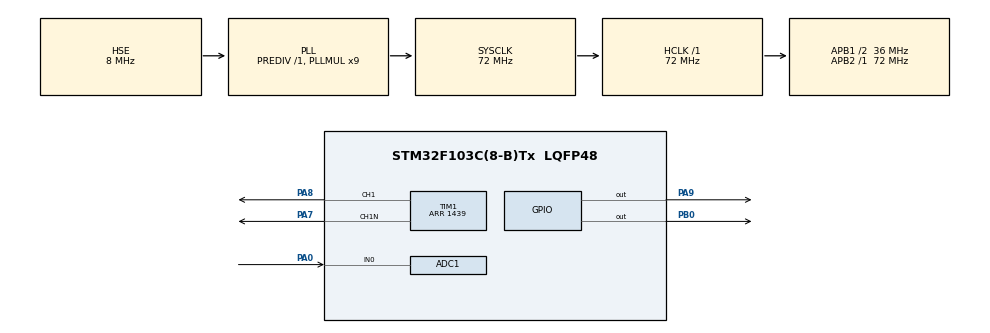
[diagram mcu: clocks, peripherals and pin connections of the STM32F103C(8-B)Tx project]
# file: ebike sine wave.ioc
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ADC1.Channel-0\#ChannelRegularConversion=ADC_CHANNEL_0
ADC1.ContinuousConvMode=ENABLE
ADC1.ExternalTrigConv=ADC_SOFTWARE_START
ADC1.NbrOfConversion=1
ADC1.NbrOfConversionFlag=1
ADC1.Rank-0\#ChannelRegularConversion=1
ADC1.SamplingTime-0\#ChannelRegularConversion=ADC_SAMPLETIME_71CYCLES_5
ADC1.master=1
Mcu.Family=STM32F1
Mcu.Name=STM32F103C(8-B)Tx
Mcu.Package=LQFP48
NVIC.PriorityGroup=NVIC_PRIORITYGROUP_4
NVIC.TIM1_UP_IRQn=true\:0\:0\:false\:false\:true\:true\:true\:true
PA0-WKUP.Signal=ADCx_IN0
PA13.Mode=Serial_Wire
PA13.Signal=SYS_JTMS-SWDIO
PA14.Mode=Serial_Wire
PA14.Signal=SYS_JTCK-SWCLK
PA7.Mode=PWM Generation1 CH1 CH1N
PA7.Signal=TIM1_CH1N
PA8.Signal=S_TIM1_CH1
PA9.Signal=GPIO_Output
PB0.Signal=GPIO_Output
PD0-OSC_IN.Mode=HSE-External-Oscillator
PD0-OSC_IN.Signal=RCC_OSC_IN
PD1-OSC_OUT.Mode=HSE-External-Oscillator
PD1-OSC_OUT.Signal=RCC_OSC_OUT
ProjectManager.HeapSize=0x200
ProjectManager.StackSize=0x400
ProjectManager.TargetToolchain=STM32CubeIDE
RCC.ADCPresc=RCC_ADCPCLK2_DIV6
RCC.AHBFreq_Value=72000000
RCC.APB1CLKDivider=RCC_HCLK_DIV2
RCC.APB1Freq_Value=36000000
RCC.APB1TimFreq_Value=72000000
RCC.APB2Freq_Value=72000000
RCC.APB2TimFreq_Value=72000000
RCC.HCLKFreq_Value=72000000
RCC.PLLMUL=RCC_PLL_MUL9
RCC.PLLSourceVirtual=RCC_PLLSOURCE_HSE
RCC.SYSCLKFreq_VALUE=72000000
RCC.SYSCLKSource=RCC_SYSCLKSOURCE_PLLCLK
RCC.USBFreq_Value=72000000
SH.ADCx_IN0.0=ADC1_IN0,IN0
SH.S_TIM1_CH1.0=TIM1_CH1,PWM Generation1 CH1 CH1N
TIM1.AutoReloadPreload=TIM_AUTORELOAD_PRELOAD_ENABLE
TIM1.Channel-PWM\ Generation1\ CH1\ CH1N=TIM_CHANNEL_1
TIM1.CounterMode=TIM_COUNTERMODE_CENTERALIGNED1
TIM1.DeadTime=10
TIM1.Period=1439
TIM1.Pulse-PWM\ Generation1\ CH1\ CH1N=0
TIM1.RepetitionCounter=1
VP_TIM1_VS_ClockSourceINT.Mode=Internal
board=custom

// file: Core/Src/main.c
/* USER CODE BEGIN Header */
/**
 ******************************************************************************
 * @file           : main.c
 * @brief          : Main program body
 ******************************************************************************
 * @attention
 *
 * Copyright (c) 2026 STMicroelectronics.
 * All rights reserved.
 *
 * This software is licensed under terms that can be found in the LICENSE file
 * in the root directory of this software component.
 * If no LICENSE file comes with this software, it is provided AS-IS.
 *
 ******************************************************************************
 */
/* USER CODE END Header */
#include "main.h"
#include "adc.h"
#include "tim.h"
#include "gpio.h"

/* USER CODE BEGIN Includes */
#include "math.h"
/* USER CODE END Includes */

/* USER CODE BEGIN PV */
#define f_carrier     25000
#define f_fundamental 50
#define TIMER_PERIOD  1439   // center-aligned: 72 MHz / (2 x 1439) ~= 25 kHz

const float PI = M_PI;

int Duty;
int k = 0;
int phase = 0;
int sampleNum;

float radVal;
float sineValue[1000];
float duty_coeff = 0.9f;

#define MA_MAX   0.90f   // max modulation index
#define MA_DEADB 0.03f   // below this, output off (pulses shorter than dead time are lost anyway)

float pot_filt = 0.0f;

/* USER CODE END PV */

void SystemClock_Config(void);

/* USER CODE BEGIN 0 */
/* Soft start: ramps duty over ~2s so you don't slam gate drivers/MOSFETs
 * with full duty the instant TIM1 starts. Harmless to leave in for a
 * scope-only test. Set soft_start_mult = 1.0f directly if you want to
 * skip the ramp while probing. */
float soft_start_mult = 0.0f;
const float soft_start_step = 0.00002f;

void SystemClock_Config(void);

/* USER CODE END 0 */

int main(void)
{

	/* MCU Configuration--------------------------------------------------------*/

	/* Reset of all peripherals, Initializes the Flash interface and the Systick. */
	HAL_Init();

	/* Configure the system clock */
	SystemClock_Config();

	/* Initialize all configured peripherals */
	MX_GPIO_Init();
	MX_TIM1_Init();
	MX_ADC1_Init();
	/* USER CODE BEGIN 2 */

	HAL_ADCEx_Calibration_Start(&hadc1);
	HAL_ADC_Start(&hadc1);        // continuous mode: it keeps converting
	HAL_Delay(10);

	/* Precompute one half-cycle of the sine table */

	sampleNum = (int) (f_carrier / f_fundamental) / 2; // 250
	radVal = 1.0f * PI / (float) sampleNum;

	for (int i = 1; i <= sampleNum; i++)
	{
		sineValue[i] = sinf(radVal * (float) i);
	}
	sineValue[sampleNum] = 0.0f;

	/* Start PWM on CH1 (PA8) and complementary CH1N (PA7) */

	HAL_TIM_Base_Start_IT(&htim1);
	HAL_TIM_PWM_Start(&htim1, TIM_CHANNEL_1);
	HAL_TIMEx_PWMN_Start(&htim1, TIM_CHANNEL_1);

	/* USER CODE END 2 */

	/* Infinite loop */
	while (1)
	{

		/* USER CODE BEGIN 3 */

		uint32_t raw = HAL_ADC_GetValue(&hadc1);   // latest conversion, 0..4095
		pot_filt += 0.05f * ((float) raw - pot_filt); // low-pass, ~100 ms time constant

		float ma = (pot_filt / 4095.0f) * MA_MAX;
		if (ma < MA_DEADB)
			ma = 0.0f;

		duty_coeff = ma;                // ISR_SINE picks it up on the next tick
		HAL_Delay(5);

	}
	/* USER CODE END 3 */
}

void SystemClock_Config(void)
{
	RCC_OscInitTypeDef RCC_OscInitStruct =
	{ 0 };
	RCC_ClkInitTypeDef RCC_ClkInitStruct =
	{ 0 };
	RCC_PeriphCLKInitTypeDef PeriphClkInit =
	{ 0 };

	/** Initializes the RCC Oscillators according to the specified parameters
	 * in the RCC_OscInitTypeDef structure.
	 */
	RCC_OscInitStruct.OscillatorType = RCC_OSCILLATORTYPE_HSE;
	RCC_OscInitStruct.HSEState = RCC_HSE_ON;
	RCC_OscInitStruct.HSEPredivValue = RCC_HSE_PREDIV_DIV1;
	RCC_OscInitStruct.HSIState = RCC_HSI_ON;
	RCC_OscInitStruct.PLL.PLLState = RCC_PLL_ON;
	RCC_OscInitStruct.PLL.PLLSource = RCC_PLLSOURCE_HSE;
	RCC_OscInitStruct.PLL.PLLMUL = RCC_PLL_MUL9;
	if (HAL_RCC_OscConfig(&RCC_OscInitStruct) != HAL_OK)
	{
		Error_Handler();
	}

	/** Initializes the CPU, AHB and APB buses clocks
	 */
	RCC_ClkInitStruct.ClockType = RCC_CLOCKTYPE_HCLK | RCC_CLOCKTYPE_SYSCLK
			| RCC_CLOCKTYPE_PCLK1 | RCC_CLOCKTYPE_PCLK2;
	RCC_ClkInitStruct.SYSCLKSource = RCC_SYSCLKSOURCE_PLLCLK;
	RCC_ClkInitStruct.AHBCLKDivider = RCC_SYSCLK_DIV1;
	RCC_ClkInitStruct.APB1CLKDivider = RCC_HCLK_DIV2;
	RCC_ClkInitStruct.APB2CLKDivider = RCC_HCLK_DIV1;

	if (HAL_RCC_ClockConfig(&RCC_ClkInitStruct, FLASH_LATENCY_2) != HAL_OK)
	{
		Error_Handler();
	}
	PeriphClkInit.PeriphClockSelection = RCC_PERIPHCLK_ADC;
	PeriphClkInit.AdcClockSelection = RCC_ADCPCLK2_DIV6;
	if (HAL_RCCEx_PeriphCLKConfig(&PeriphClkInit) != HAL_OK)
	{
		Error_Handler();
	}
}

/* USER CODE BEGIN 4 */
/* Called from TIM1_UP_IRQHandler() in stm32f1xx_it.c, AFTER HAL_TIM_IRQHandler() */
void ISR_SINE(void)
{
	k++;

	/* Soft start ramp */
	if (soft_start_mult < 1.0f)
	{
		soft_start_mult += soft_start_step;
	}
	else
	{
		soft_start_mult = 1.0f;
	}

	Duty = (int) (duty_coeff * TIMER_PERIOD * sineValue[k] * soft_start_mult);

	/* Beginning of half cycle: set phase direction pins + first CCR1 */
	if (k == 1)
	{
		if (phase == 0)
		{
			GPIOA->BRR = GPIO_PIN_9;  // HB OFF
			GPIOB->BSRR = GPIO_PIN_0;  // LB ON
			TIM1->CCR1 = Duty;
		}
		else
		{
			GPIOB->BRR = GPIO_PIN_0;  // LB OFF
			GPIOA->BSRR = GPIO_PIN_9;  // HB ON
			TIM1->CCR1 = TIMER_PERIOD - Duty;
		}
		TIM1->BDTR |= TIM_BDTR_MOE; // enable outputs
	}

	/* Mid half-cycle: just update CCR1 each ISR tick */
	if (k > 1 && k <= sampleNum)
	{
		if (phase == 0)
			TIM1->CCR1 = Duty;
		else
			TIM1->CCR1 = TIMER_PERIOD - Duty;
	}

	/* Zero crossing: kill outputs, flip phase, pre-load next CCR1 */
	if (k > sampleNum)
	{
		int nextDuty = (int) (duty_coeff * TIMER_PERIOD * sineValue[1]
				* soft_start_mult);

		if (phase == 0)
			TIM1->CCR1 = TIMER_PERIOD - nextDuty;
		else
			TIM1->CCR1 = nextDuty;

		k = 0;

		TIM1->BDTR &= ~(TIM_BDTR_MOE); // instantly stop outputs (no shoot-through glitch)
		GPIOA->BRR = GPIO_PIN_9;
		GPIOB->BRR = GPIO_PIN_0;

		phase = !phase;
	}
}
/* USER CODE END 4 */

void Error_Handler(void)
{
	__disable_irq();
	while (1)
	{
	}
}
